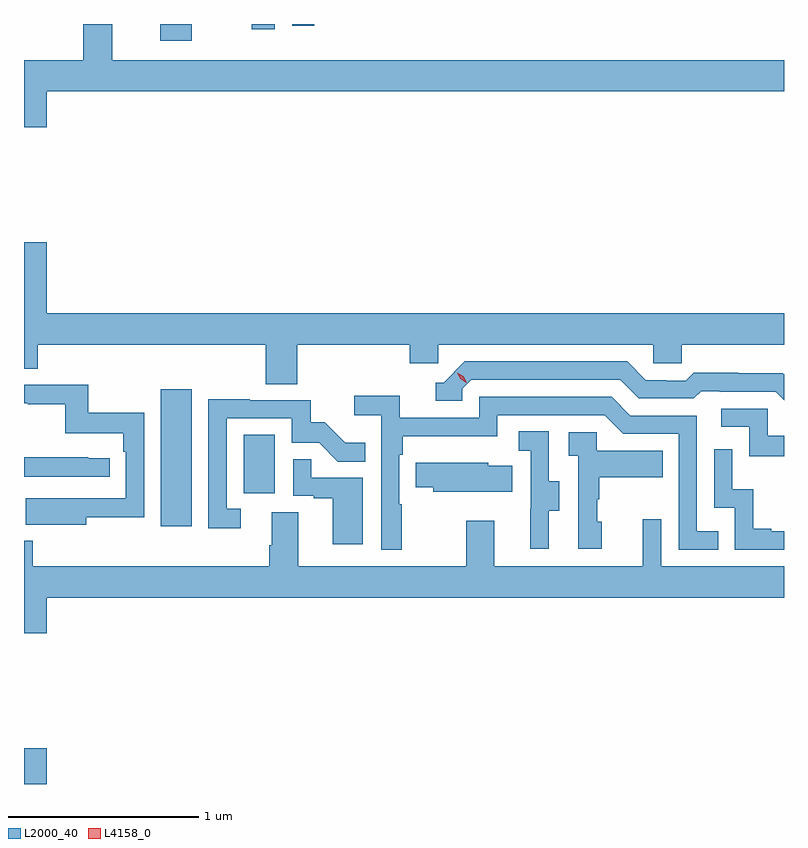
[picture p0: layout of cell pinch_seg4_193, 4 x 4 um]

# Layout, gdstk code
import gdstk
lib = gdstk.Library(unit=1e-6, precision=1e-09)
def R(c, l, rs):  # rectangles x0, y0, x1, y1
    for r in rs: c.add(gdstk.rectangle(r[:2], r[2:], *l))
def P(c, l, *ps):  # polygons
    for p in ps: c.add(gdstk.Polygon(p, *l))
L2000_40 = (2000, 40)
L4158_0 = (4158, 0)

pinch_seg4_193 = lib.new_cell('pinch_seg4_193')
R(pinch_seg4_193, L2000_40, [(956.26,815.819,956.38,816.007), (956.981,817.176,957.142,817.897), (957.416,817.35,957.58,817.657), (956.978,819.732,957.144,819.819), (957.458,819.792,957.58,819.819), (957.672,819.81,957.788,819.819)])
P(pinch_seg4_193, L2000_40, [(956.38,819.464),(960.26,819.464),(960.26,819.628),(956.725,819.628),(956.725,819.819),(956.573,819.819),(956.573,819.628),(956.26,819.628),(956.26,819.276),(956.38,819.276)],
  [(957.698,818.132),(958.289,818.132),(958.289,818.034),(958.44,818.034),(958.44,818.132),(959.571,818.132),(959.571,818.034),(959.721,818.034),(959.721,818.132),(960.26,818.132),(960.26,818.296),(956.38,818.296),(956.38,818.671),(956.26,818.671),(956.26,818.005),(956.333,818.005),(956.333,818.132),(957.533,818.132),(957.533,817.924),(957.698,817.924)],
  [(958.566,817.899),(958.614,817.947),(959.397,817.947),(959.496,817.848),(959.785,817.848),(959.824,817.887),(959.923,817.887),(959.923,817.884),(960.216,817.884),(960.26,817.84),(960.26,817.975),(960.254,817.981),(960.018,817.981),(960.018,817.984),(959.785,817.984),(959.743,817.941),(959.64,817.941),(959.64,817.944),(959.533,817.944),(959.434,818.043),(958.581,818.043),(958.47,817.932),(958.427,817.932),(958.427,817.836),(958.566,817.836)],
  [(956.587,817.222),(956.892,817.222),(956.892,817.774),(956.599,817.774),(956.599,817.92),(956.26,817.92),(956.26,817.824),(956.281,817.824),(956.281,817.819),(956.478,817.819),(956.478,817.664),(956.783,817.664),(956.783,817.568),(956.796,817.568),(956.796,817.323),(956.483,817.323),(956.483,817.324),(956.269,817.324),(956.269,817.184),(956.587,817.184)],
  [(958.249,817.292),(958.236,817.292),(958.236,817.553),(958.253,817.553),(958.253,817.649),(958.752,817.649),(958.752,817.761),(959.316,817.761),(959.415,817.662),(959.706,817.662),(959.706,817.053),(959.915,817.053),(959.915,817.149),(959.802,817.149),(959.802,817.758),(959.452,817.758),(959.353,817.857),(958.656,817.857),(958.656,817.746),(958.238,817.746),(958.238,817.862),(957.999,817.862),(957.999,817.76),(958.14,817.76),(958.14,817.053),(958.249,817.053)],
  [(957.4,817.269),(957.327,817.269),(957.327,817.743),(957.669,817.743),(957.669,817.614),(957.813,817.614),(957.911,817.516),(958.055,817.516),(958.055,817.615),(957.951,817.615),(957.844,817.722),(957.768,817.722),(957.768,817.839),(957.449,817.839),(957.449,817.844),(957.231,817.844),(957.231,817.164),(957.4,817.164)],
  [(960.26,817.653),(960.174,817.653),(960.174,817.794),(959.931,817.794),(959.931,817.698),(960.078,817.698),(960.078,817.545),(960.26,817.545)],
  [(959.023,817.258),(959.077,817.258),(959.077,817.413),(959.022,817.413),(959.022,817.676),(958.863,817.676),(958.863,817.573),(958.926,817.573),(958.926,817.269),(958.925,817.269),(958.925,817.056),(959.023,817.056)],
  [(959.302,817.2),(959.277,817.2),(959.277,817.319),(959.287,817.319),(959.287,817.433),(959.621,817.433),(959.621,817.573),(959.274,817.573),(959.274,817.671),(959.127,817.671),(959.127,817.547),(959.178,817.547),(959.178,817.056),(959.302,817.056)],
  [(960.26,817.149),(960.193,817.149),(960.193,817.162),(960.098,817.162),(960.098,817.37),(959.988,817.37),(959.988,817.582),(959.892,817.582),(959.892,817.272),(960,817.272),(960,817.053),(960.26,817.053)],
  [(956.71,817.533),(956.597,817.533),(956.597,817.538),(956.26,817.538),(956.26,817.437),(956.71,817.437)],
  [(958.042,817.431),(957.773,817.431),(957.773,817.529),(957.678,817.529),(957.678,817.335),(957.785,817.335),(957.785,817.323),(957.884,817.323),(957.884,817.08),(958.042,817.08)],
  [(958.829,817.495),(958.704,817.495),(958.704,817.51),(958.432,817.51),(958.432,817.509),(958.321,817.509),(958.321,817.381),(958.415,817.381),(958.415,817.358),(958.829,817.358)],
  [(956.38,816.8),(960.26,816.8),(960.26,816.964),(959.613,816.964),(959.613,817.213),(959.516,817.213),(959.516,816.964),(958.735,816.964),(958.735,817.204),(958.588,817.204),(958.588,816.964),(957.703,816.964),(957.703,817.25),(957.563,817.25),(957.563,817.076),(957.551,817.076),(957.551,816.964),(956.306,816.964),(956.306,817.099),(956.26,817.099),(956.26,816.612),(956.38,816.612)])
P(pinch_seg4_193, L4158_0, [(958.588,817.932),(958.557,817.951),(958.541,817.984),(958.541,817.984),(958.541,817.984),(958.572,817.965),(958.589,817.932),(958.589,817.932)])

lib.write_gds('pinch_seg4_193.gds')
